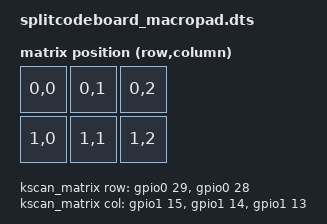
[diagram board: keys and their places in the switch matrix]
///////////////////////////////////////////////////////////////////////////////
// Copyright (c) 2026 SuperCode Studios
// https://scstudios.tech
// SplitCodeBoard Version 1.0.0
// Licence: GNU Affero General Public License v3.0 only (AGPL-3.0-only)
// SPDX-License-Identifier: AGPL-3.0-only
// Maintainer: SuperCode Studios
///////////////////////////////////////////////////////////////////////////////

// SplitCodeBoard macropad sibling overlay

#include "splitcodeboard.dtsi"

&kscan {
    rows = <2>;
    columns = <3>;
};

&kscan_matrix {
    row-gpios
        = <&gpio0 29 (GPIO_ACTIVE_HIGH | GPIO_PULL_DOWN)>
        , <&gpio0 28 (GPIO_ACTIVE_HIGH | GPIO_PULL_DOWN)>
        ;

    col-gpios
        = <&gpio1 15 GPIO_ACTIVE_HIGH>
        , <&gpio1 14 GPIO_ACTIVE_HIGH>
        , <&gpio1 13 GPIO_ACTIVE_HIGH>
        ;
};

&default_transform {
    rows = <2>;
    columns = <3>;
    map = <
        RC(0,0) RC(0,1) RC(0,2)
        RC(1,0) RC(1,1) RC(1,2)
    >;
};

&i2c0 {
    status = "okay";

    oled: ssd1306@3c {
        compatible = "solomon,ssd1306fb"
        reg = <0x3c>;
        width = <128>;
        height = <32>;
        segment-offset = <0>;
        page-offset = <0>;
        display-offset = <0>;
        multiplex-ratio = <31>;
        prechargep = <0x22>;
        com-invdir;
    };
};

&{/chosen} {
    zmk,display = &oled;
};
